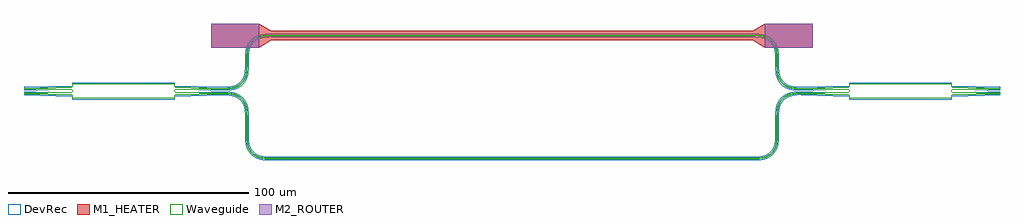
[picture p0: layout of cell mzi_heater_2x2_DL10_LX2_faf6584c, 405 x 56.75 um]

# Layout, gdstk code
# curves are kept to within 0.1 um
from math import pi, radians
import gdstk
lib = gdstk.Library(unit=1e-6, precision=1e-09)
def R(c, l, rs):  # rectangles x0, y0, x1, y1
    for r in rs: c.add(gdstk.rectangle(r[:2], r[2:], *l))
def P(c, l, *ps):  # polygons
    for p in ps: c.add(gdstk.Polygon(p, *l))
Waveguide = (1, 0)
M1_HEATER = (11, 0)
M2_ROUTER = (12, 0)
DevRec = (68, 0)

straight_l2_csstrip_wnon = lib.new_cell('straight_L2_CSstrip_WNone_N2')
R(straight_l2_csstrip_wnon, Waveguide, [(0,-0.25,2,0.25)])
R(straight_l2_csstrip_wnon, DevRec, [(0,-0.75,2,0.75)])

mmi2x2_wnone_wt1p5_lt20_ = lib.new_cell('mmi2x2_WNone_WT1p5_LT20_fe4e025c')
P(mmi2x2_wnone_wt1p5_lt20_, Waveguide, [(0,-3),(0,-1.75),(-20,-1.25),(-20,-0.75),(0,-0.25),(0,0.25),(-20,0.75),(-20,1.25),(0,1.75),(0,3),(42.5,3),(42.5,1.75),(62.5,1.25),(62.5,0.75),(42.5,0.25),(42.5,-0.25),(62.5,-0.75),(62.5,-1.25),(42.5,-1.75),(42.5,-3)])
P(mmi2x2_wnone_wt1p5_lt20_, DevRec, [(0,-3.5),(0,-2.25),(-20,-1.75),(-20,-0.25),(-10,0),(-20,0.25),(-20,1.75),(0,2.25),(0,3.5),(42.5,3.5),(42.5,2.25),(62.5,1.75),(62.5,0.25),(52.5,0),(62.5,-0.25),(62.5,-1.75),(42.5,-2.25),(42.5,-3.5)])

straight_heater_metal_l_ = lib.new_cell('straight_heater_metal_L_f501f481')
R(straight_heater_metal_l_, Waveguide, [(0,-0.25,200,0.25)])
P(straight_heater_metal_l_, M1_HEATER, [(-24.9,-5),(-24.9,5),(-4.9,5),(0.1,2),(199.9,2),(204.9,5),(224.9,5),(224.9,-5),(204.9,-5),(199.9,-2),(0.1,-2),(-4.9,-5)])
R(straight_heater_metal_l_, M2_ROUTER, [(-24.9,-5,-4.9,5), (204.9,-5,224.9,5)])
R(straight_heater_metal_l_, DevRec, [(0,-0.75,200,0.75)])

bend_euler_rnone_a90_p0_ = lib.new_cell('bend_euler_RNone_A90_P0_fbfa4d8c')
P(bend_euler_rnone_a90_p0_, Waveguide, [(0,-0.25),(0,0.25),(2.881,0.353),(3.952,0.52),(4.99,0.806),(6.431,1.505),(7.575,2.425),(8.495,3.569),(9.194,5.01),(9.48,6.048),(9.647,7.119),(9.75,10),(10.25,10),(10.158,7.205),(9.797,5.254),(9.457,4.312),(9.066,3.545),(8.5,2.715),(7.928,2.072),(7.285,1.5),(6.455,0.934),(5.688,0.543),(4.746,0.203),(2.795,-0.158)])
P(bend_euler_rnone_a90_p0_, DevRec, [(0,-0.75),(0,0.75),(2.697,0.837),(4.466,1.163),(5.95,1.797),(7.221,2.779),(8.203,4.05),(8.837,5.534),(9.163,7.303),(9.25,10),(10.75,10),(10.656,7.156),(10.277,5.114),(9.497,3.292),(8.282,1.718),(6.708,0.503),(4.886,-0.277),(2.844,-0.656)])

straight_l7_csstrip_wnon = lib.new_cell('straight_L7_CSstrip_WNone_N2')
R(straight_l7_csstrip_wnon, Waveguide, [(0,-0.25,7,0.25)])
R(straight_l7_csstrip_wnon, DevRec, [(0,-0.75,7,0.75)])

straight_l200_csstrip_wn = lib.new_cell('straight_L200_CSstrip_WNone_N2')
R(straight_l200_csstrip_wn, Waveguide, [(0,-0.25,200,0.25)])
R(straight_l200_csstrip_wn, DevRec, [(0,-0.75,200,0.75)])

mzi_heater_2x2_dl10_lx2_ = lib.new_cell('mzi_heater_2x2_DL10_LX2_faf6584c')
mzi_heater_2x2_dl10_lx2_.add(gdstk.Reference(straight_l2_csstrip_wnon, (292.5,11), rotation=pi/2))
mzi_heater_2x2_dl10_lx2_.add(gdstk.Reference(mmi2x2_wnone_wt1p5_lt20_, (365,0), rotation=pi, x_reflection=True))
mzi_heater_2x2_dl10_lx2_.add(gdstk.Reference(straight_heater_metal_l_, (82.5,23)))
mzi_heater_2x2_dl10_lx2_.add(gdstk.Reference(bend_euler_rnone_a90_p0_, (302.5,-1), rotation=pi))
mzi_heater_2x2_dl10_lx2_.add(gdstk.Reference(straight_l7_csstrip_wnon, (72.5,-11), rotation=3*pi/2))
mzi_heater_2x2_dl10_lx2_.add(gdstk.Reference(straight_l2_csstrip_wnon, (72.5,11), rotation=pi/2))
mzi_heater_2x2_dl10_lx2_.add(gdstk.Reference(straight_l7_csstrip_wnon, (292.5,-18), rotation=pi/2))
mzi_heater_2x2_dl10_lx2_.add(gdstk.Reference(bend_euler_rnone_a90_p0_, (62.5,-1), x_reflection=True))
mzi_heater_2x2_dl10_lx2_.add(gdstk.Reference(bend_euler_rnone_a90_p0_, (292.5,11), rotation=3*pi/2))
mzi_heater_2x2_dl10_lx2_.add(gdstk.Reference(bend_euler_rnone_a90_p0_, (62.5,1)))
mzi_heater_2x2_dl10_lx2_.add(gdstk.Reference(bend_euler_rnone_a90_p0_, (292.5,13), rotation=pi/2))
mzi_heater_2x2_dl10_lx2_.add(gdstk.Reference(straight_l200_csstrip_wn, (82.5,-28)))
mzi_heater_2x2_dl10_lx2_.add(gdstk.Reference(bend_euler_rnone_a90_p0_, (72.5,-18), rotation=3*pi/2))
mzi_heater_2x2_dl10_lx2_.add(gdstk.Reference(bend_euler_rnone_a90_p0_, (282.5,-28)))
mzi_heater_2x2_dl10_lx2_.add(gdstk.Reference(bend_euler_rnone_a90_p0_, (82.5,23), rotation=pi))
mzi_heater_2x2_dl10_lx2_.add(gdstk.Reference(mmi2x2_wnone_wt1p5_lt20_, (0,0)))

lib.write_gds('mzi_heater_2x2_DL10_LX2_faf6584c.gds')
